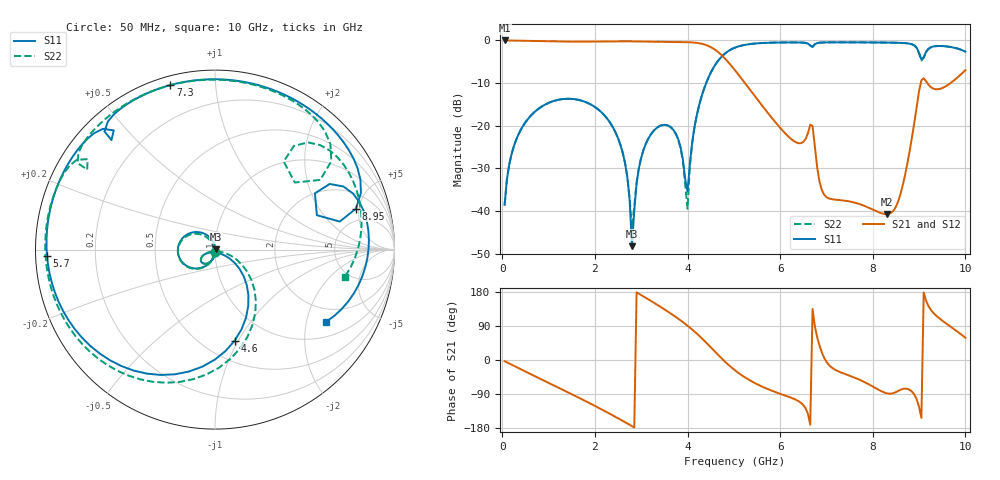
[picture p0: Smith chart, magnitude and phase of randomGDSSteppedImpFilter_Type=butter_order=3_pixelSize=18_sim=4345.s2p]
! freq	dB(S11)	phase(S11)	dB(S12)	phase(S12)
!  dB(S21)	phase(S21)	dB(S22)	phase(S22)
!S-par simulation data
#  GHz  S  DB  R 50
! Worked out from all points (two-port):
!   200 points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, 50 MHz to 10 GHz, reference 50 ohm
!   highest |S21| = -0.01 dB at 50 MHz (marker M1); lowest = -40.7 dB at 8.3 GHz (marker M2)
!   |S21| within 3 dB of the highest: start of sweep to 4.69 GHz
!   lowest |S11| = -48.2 dB at 2.8 GHz (marker M3), VSWR 1.01, Z = 50.4 + j0.132 ohm
!   |S11| at or under -10 dB: start of sweep to 4.402 GHz
!   |S22| runs from -44.0 to -0.4 dB; largest |S21 - S12| = 0
!   S11 on the Smith chart (normalised r, x): 50 MHz: 1.00, -0.02; 4.6 GHz: 0.70, -0.97; 5.7 GHz: 0.03, -0.02; 7.3 GHz: 0.04, +0.76; 8.95 GHz: 3.38, +4.65; 10 GHz: 1.48, -2.63
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0.05  -38.54 -93.1  -0.01 -3.1  -0.01 -3.1  -38.55 -93.1
0.55  -18.46 -124.5  -0.11 -33.5  -0.11 -33.5  -18.46 -123.6
1.75  -14.25 162.2  -0.29 -105.5  -0.29 -105.5  -14.25 165.8
2.55  -24.44 108.6  -0.21 -157.2  -0.21 -157.2  -24.44 118.9
2.7  -32.02 95.1  -0.21 -167.5  -0.21 -167.5  -31.93 116.2
2.8  -48.22 19.7  -0.22 -174.5  -0.22 -174.5  -44.02 175.3
3  -27.48 -97.6  -0.25 171.3  -0.25 171.3  -27.39 -104.0
3.4  -20.06 -128.4  -0.34 141.5  -0.34 141.5  -20.04 -127.9
3.8  -23.19 -155.0  -0.39 109.0  -0.39 109.0  -23.28 -155.3
4  -35.40 -77.6  -0.42 90.5  -0.42 90.5  -39.45 -61.4
4.2  -17.51 -34.1  -0.57 69.7  -0.57 69.7  -17.54 -24.8
4.6  -5.69 -77.8  -2.23 21.0  -2.23 21.0  -5.68 -69.8
5.05  -1.59 -128.8  -7.33 -29.7  -7.33 -29.7  -1.58 -119.8
5.7  -0.57 -177.9  -16.52 -75.0  -16.52 -75.0  -0.56 -167.0
6.7  -1.52 133.4  -20.06 134.6  -20.06 134.6  -1.51 148.0
6.9  -0.49 124.2  -35.07 19.9  -35.07 19.9  -0.48 139.4
7.3  -0.45 105.2  -37.44 -32.2  -37.44 -32.2  -0.44 121.9
8.3  -0.50 58.6  -40.71 -87.9  -40.71 -87.9  -0.50 78.8
8.35  -0.51 56.0  -40.62 -88.8  -40.62 -88.8  -0.51 76.4
8.95  -1.75 16.2  -15.41 -104.1  -15.41 -104.1  -1.79 37.2
9.1  -3.89 29.4  -8.86 178.1  -8.86 178.1  -4.12 52.1
10  -2.63 -33.0  -6.98 58.7  -6.98 58.7  -2.62 -11.7
